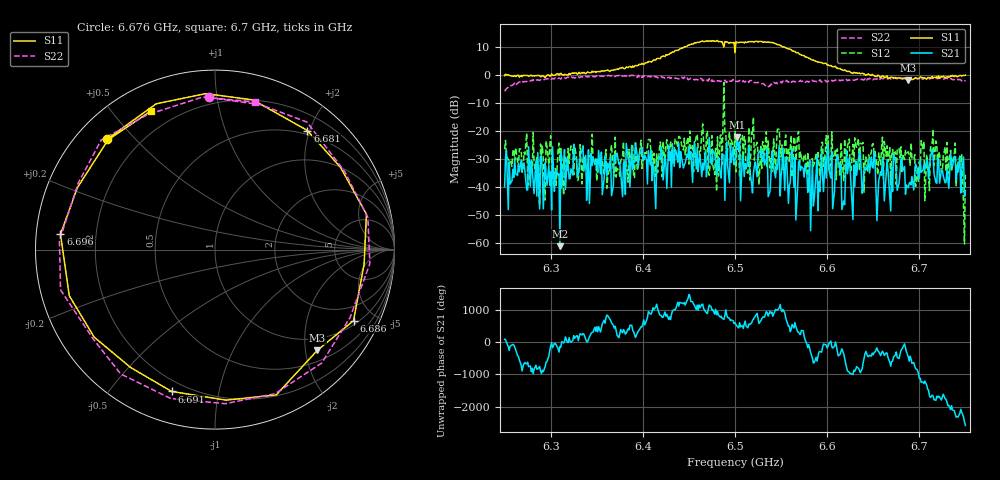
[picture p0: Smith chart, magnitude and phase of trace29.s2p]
# Hz S RI R 50
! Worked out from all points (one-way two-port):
!   401 points, 6.25 GHz to 6.75 GHz, reference 50 ohm
!   highest |S21| = -22.28 dB at 6.502 GHz (marker M1); lowest = -61.3 dB at 6.31 GHz (marker M2)
!   lowest |S11| = -1.9 dB at 6.688 GHz (marker M3), VSWR 9.00, Z = 36 - j112 ohm
!   |S11| at or under -10 dB: nowhere
!   |S22| runs from -5.9 to -0.2 dB; largest |S21 - S12| = 0.69
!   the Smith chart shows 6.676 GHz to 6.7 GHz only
!   S11 on the Smith chart (normalised r, x): 6.676 GHz: 0.09, +0.42; 6.681 GHz: 0.44, +1.96; 6.686 GHz: 1.19, -3.79; 6.691 GHz: 0.15, -0.73; 6.696 GHz: 0.07, +0.05; 6.7 GHz: 0.11, +0.64
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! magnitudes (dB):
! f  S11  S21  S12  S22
! 6.25 GHz  -0.4  -40.1  -26.7  -5.9
! 6.285 GHz  -0.4  -43.4  -29.4  -1.9
! 6.31 GHz  0.1  -61.3  -30.8  -1.4
! 6.334 GHz  0.7  -27.2  -39.1  -0.8
! 6.418 GHz  5.7  -29.2  -26.4  -0.5
! 6.488 GHz  9.8  -28.9  -2.8  -2.3
! 6.5 GHz  7.8  -30.3  -17.0  -2.5
! 6.502 GHz  11.5  -22.3  -26.5  -2.5
! 6.584 GHz  5.2  -31.1  -30.1  -2.1
! 6.602 GHz  3.2  -34.1  -34.3  -2.3
! 6.616 GHz  1.7  -48.2  -29.3  -2.1
! 6.634 GHz  0.4  -30.0  -22.8  -1.6
! 6.668 GHz  -1.2  -44.3  -26.1  -1.2
! 6.676 GHz  -1.3  -41.4  -26.6  -1.4
! 6.681 GHz  -1.5  -29.7  -34.7  -1.2
! 6.686 GHz  -1.2  -39.4  -28.1  -1.2
! 6.688 GHz  -1.9  -40.4  -27.6  -1.3
! 6.691 GHz  -1.7  -39.4  -24.4  -1.5
! 6.696 GHz  -1.3  -32.0  -40.0  -1.1
! 6.7 GHz  -1.4  -36.9  -31.2  -1.4
! 6.736 GHz  -0.3  -32.9  -31.1  -1.8
! 6.75 GHz  -0.3  -41.5  -35.8  -2.1
